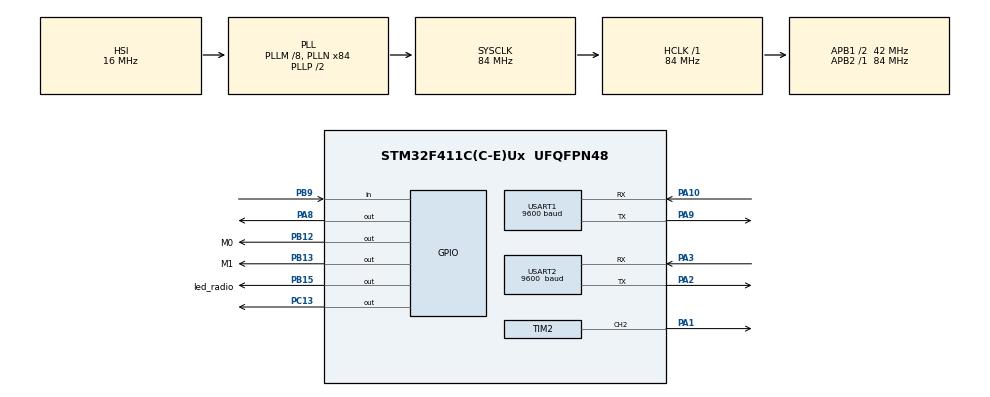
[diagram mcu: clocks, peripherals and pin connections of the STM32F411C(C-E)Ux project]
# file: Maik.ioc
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Mcu.Family=STM32F4
Mcu.Name=STM32F411C(C-E)Ux
Mcu.Package=UFQFPN48
NVIC.PriorityGroup=NVIC_PRIORITYGROUP_4
NVIC.TIM2_IRQn=true\:0\:0\:false\:false\:true\:true\:true\:true
NVIC.TIM3_IRQn=true\:0\:0\:false\:false\:true\:true\:true\:true
NVIC.TIM4_IRQn=true\:0\:0\:false\:false\:true\:true\:true\:true
NVIC.USART2_IRQn=true\:0\:0\:false\:false\:true\:true\:true\:true
PA1.Signal=S_TIM2_CH2
PA10.GPIO_PuPd=GPIO_PULLUP
PA10.Mode=Asynchronous
PA10.Signal=USART1_RX
PA2.Mode=Asynchronous
PA2.Signal=USART2_TX
PA3.Mode=Asynchronous
PA3.Signal=USART2_RX
PA8.Signal=GPIO_Output
PA9.Mode=Asynchronous
PA9.Signal=USART1_TX
PB12.GPIO_Label=M0
PB12.Signal=GPIO_Output
PB13.GPIO_Label=M1
PB13.Signal=GPIO_Output
PB15.GPIO_Label=led_radio
PB15.Signal=GPIO_Output
PB9.Signal=GPIO_Input
PC13-ANTI_TAMP.GPIO_PuPd=GPIO_NOPULL
PC13-ANTI_TAMP.PinState=GPIO_PIN_RESET
PC13-ANTI_TAMP.Signal=GPIO_Output
ProjectManager.HeapSize=0x200
ProjectManager.StackSize=0x400
ProjectManager.TargetToolchain=STM32CubeIDE
RCC.48MHZClocksFreq_Value=42000000
RCC.AHBFreq_Value=84000000
RCC.APB1CLKDivider=RCC_HCLK_DIV2
RCC.APB1Freq_Value=42000000
RCC.APB1TimFreq_Value=84000000
RCC.APB2Freq_Value=84000000
RCC.APB2TimFreq_Value=84000000
RCC.CortexFreq_Value=84000000
RCC.HCLKFreq_Value=84000000
RCC.HSE_VALUE=25000000
RCC.HSI_VALUE=16000000
RCC.LSE_VALUE=32768
RCC.PLLM=8
RCC.PLLN=84
RCC.SYSCLKFreq_VALUE=84000000
RCC.SYSCLKSource=RCC_SYSCLKSOURCE_PLLCLK
RCC.VCOOutputFreq_Value=168000000
SH.S_TIM2_CH2.0=TIM2_CH2,PWM Generation2 CH2
TIM2.Channel-PWM\ Generation2\ CH2=TIM_CHANNEL_2
TIM2.Period=999
TIM2.Prescaler=83
TIM2.Pulse-PWM\ Generation2\ CH2=500
TIM3.AutoReloadPreload=TIM_AUTORELOAD_PRELOAD_ENABLE
TIM3.Period=41999
TIM3.Prescaler=9999
TIM4.AutoReloadPreload=TIM_AUTORELOAD_PRELOAD_ENABLE
TIM4.Period=1999
TIM4.Prescaler=41999
USART1.BaudRate=9600
USART1.VirtualMode=VM_ASYNC
USART2.BaudRate=9600 
USART2.VirtualMode=VM_ASYNC
VP_TIM2_VS_ClockSourceINT.Mode=Internal
VP_TIM3_VS_ClockSourceINT.Mode=Internal
VP_TIM4_VS_ClockSourceINT.Mode=Internal
board=custom

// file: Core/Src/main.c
/* USER CODE BEGIN Header */
/**
  ******************************************************************************
  * @file           : main.c
  * @brief          : Main program body
  ******************************************************************************
  * @attention
  *
  * Copyright (c) 2025 STMicroelectronics.
  * All rights reserved.
  *
  * This software is licensed under terms that can be found in the LICENSE file
  * in the root directory of this software component.
  * If no LICENSE file comes with this software, it is provided AS-IS.
  *
  ******************************************************************************
  */
/* USER CODE END Header */
#include "main.h"
#include "tim.h"
#include "usart.h"
#include "gpio.h"

/* USER CODE BEGIN Includes */
#include "status.h"
#include "buzzer.h"
#include "tim.h"
#include "gnss.h"
#include "radio.h"
#include "system_definitions.h"
#include "communication.h"

/* USER CODE END Includes */

/* USER CODE BEGIN PV */
bool send_status = false;
GPS_Data gps_data_to_send;  // Для хранения данных GPS перед отправкой
bool gps_data_ready = false; // Флаг готовности данных

/* USER CODE END PV */

void SystemClock_Config(void);

/* USER CODE BEGIN 0 */
system_status sys_status = INIT;
// uint8_t response;

/* USER CODE END 0 */

int main(void)
{

  /* MCU Configuration--------------------------------------------------------*/

  /* Reset of all peripherals, Initializes the Flash interface and the Systick. */
  HAL_Init();

  /* Configure the system clock */
  SystemClock_Config();

  /* Initialize all configured peripherals */
  MX_GPIO_Init();
  MX_TIM2_Init();
  MX_TIM3_Init();
  MX_USART1_UART_Init();
  MX_USART2_UART_Init();
  MX_TIM4_Init();
  /* USER CODE BEGIN 2 */
  buzzer_set_freq(2000);

  __HAL_TIM_SET_COUNTER(&htim3, 0);
  __HAL_TIM_CLEAR_FLAG(&htim3, TIM_SR_UIF);

  GPS_Init(&huart2);
  radio_init();
  HAL_Delay(100);

  HAL_TIM_Base_Start_IT(&htim3);

  /* USER CODE END 2 */

  /* Infinite loop */
  /* USER CODE BEGIN WHILE */
  while (1)
  {
    if (sys_status == INIT) {
      // Статус радиo
      if (radio_is_enabled()) {
        HAL_GPIO_WritePin(led_radio_GPIO_Port, led_radio_Pin, GPIO_PIN_SET);
      }
      // Статус GPS
      // if () {
      //   HAL_GPIO_WritePin(GPIOA, GPS, GPIO_PIN_SET);
      // }

      sys_status = WHILE;
    }

    if (sys_status == WHILE) {
      // if (... == "landing") {
      //   sys_status = RUN;
      // }
    }

    if (sys_status == RUN) {
      // buzzer_start();
      // HAL_Delay(1000);
      // buzzer_stop();
      HAL_Delay(100);

      if (send_status)
      {
        send_status = false;

        if (gps_data_ready)
        {
          char msg[256];
          // Форматируем данные GPS в строку
          snprintf(msg, sizeof(msg), "LAT:%.6f,LON:%.6f,ALT:%.1f",
                  gps_data_to_send.latitude,
                  gps_data_to_send.longitude,
                  gps_data_to_send.altitude);

          // Отправляем сообщение
          send_message(msg, PRIORITY_HIGH);

          gps_data_ready = false;  // Сбрасываем флаг
        }
      }
    }

    /* USER CODE END WHILE */

  }
}

void SystemClock_Config(void)
{
  RCC_OscInitTypeDef RCC_OscInitStruct = {0};
  RCC_ClkInitTypeDef RCC_ClkInitStruct = {0};

  /** Configure the main internal regulator output voltage
  */
  __HAL_RCC_PWR_CLK_ENABLE();
  __HAL_PWR_VOLTAGESCALING_CONFIG(PWR_REGULATOR_VOLTAGE_SCALE1);

  /** Initializes the RCC Oscillators according to the specified parameters
  * in the RCC_OscInitTypeDef structure.
  */
  RCC_OscInitStruct.OscillatorType = RCC_OSCILLATORTYPE_HSI;
  RCC_OscInitStruct.HSIState = RCC_HSI_ON;
  RCC_OscInitStruct.HSICalibrationValue = RCC_HSICALIBRATION_DEFAULT;
  RCC_OscInitStruct.PLL.PLLState = RCC_PLL_ON;
  RCC_OscInitStruct.PLL.PLLSource = RCC_PLLSOURCE_HSI;
  RCC_OscInitStruct.PLL.PLLM = 8;
  RCC_OscInitStruct.PLL.PLLN = 84;
  RCC_OscInitStruct.PLL.PLLP = RCC_PLLP_DIV2;
  RCC_OscInitStruct.PLL.PLLQ = 4;
  if (HAL_RCC_OscConfig(&RCC_OscInitStruct) != HAL_OK)
  {
    Error_Handler();
  }

  /** Initializes the CPU, AHB and APB buses clocks
  */
  RCC_ClkInitStruct.ClockType = RCC_CLOCKTYPE_HCLK|RCC_CLOCKTYPE_SYSCLK
                              |RCC_CLOCKTYPE_PCLK1|RCC_CLOCKTYPE_PCLK2;
  RCC_ClkInitStruct.SYSCLKSource = RCC_SYSCLKSOURCE_PLLCLK;
  RCC_ClkInitStruct.AHBCLKDivider = RCC_SYSCLK_DIV1;
  RCC_ClkInitStruct.APB1CLKDivider = RCC_HCLK_DIV2;
  RCC_ClkInitStruct.APB2CLKDivider = RCC_HCLK_DIV1;

  if (HAL_RCC_ClockConfig(&RCC_ClkInitStruct, FLASH_LATENCY_2) != HAL_OK)
  {
    Error_Handler();
  }
}

/* USER CODE BEGIN 4 */
void HAL_TIM_PeriodElapsedCallback(TIM_HandleTypeDef *htim)
{
  if (htim->Instance == TIM3)
  {
    HAL_TIM_Base_Stop_IT(&htim3);
    HAL_GPIO_TogglePin(GPIOC, GPIO_PIN_13);
    HAL_GPIO_WritePin(led_radio_GPIO_Port, led_radio_Pin, GPIO_PIN_RESET);

    sys_status = RUN;
    HAL_TIM_Base_Start_IT(&htim4);
  }

  if (htim->Instance == TIM4)
  {
    // Получить данные из GPS
    GPS_Data* current_data = GPS_GetData();

    // Если есть фикс, сохраняем данные для отправки
    if (current_data->fix_status >= 1) {
        gps_data_to_send = *current_data;  // Копируем данные
        gps_data_ready = true;             // Устанавливаем флаг готовности

        HAL_GPIO_TogglePin(GPIOA, GPS);
    }

    send_status = true;  // Разрешаем отправку
  }
}

/* USER CODE END 4 */

void Error_Handler(void)
{
  __disable_irq();
  while (1)
  {
  }
}
